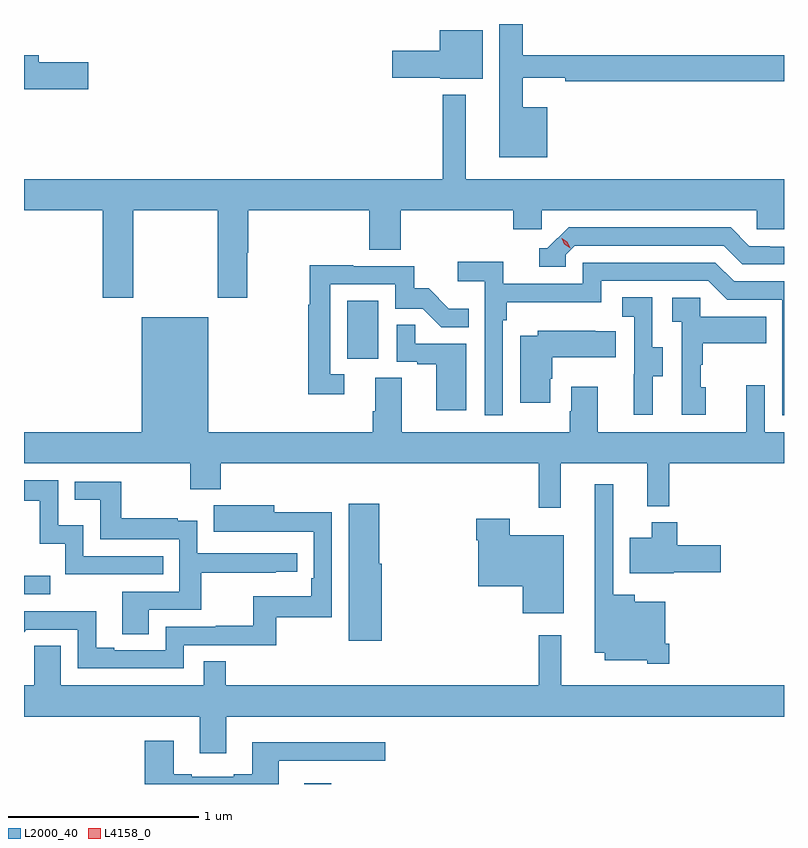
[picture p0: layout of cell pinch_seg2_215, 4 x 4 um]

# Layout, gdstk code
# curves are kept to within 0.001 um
import gdstk
lib = gdstk.Library(unit=1e-6, precision=1e-09)
def R(c, l, rs):  # rectangles x0, y0, x1, y1
    for r in rs: c.add(gdstk.rectangle(r[:2], r[2:], *l))
def P(c, l, *ps):  # polygons
    for p in ps: c.add(gdstk.Polygon(p, *l))
L2000_40 = (2000, 40)
L4158_0 = (4158, 0)

pinch_seg2_215 = lib.new_cell('pinch_seg2_215')
R(pinch_seg2_215, L2000_40, [(1000.037,649.945,1000.177,649.948), (998.561,650.943,998.698,651.04), (1000.262,652.182,1000.426,652.489)])
P(pinch_seg2_215, L2000_40, [(1001.314,653.506),(1001.185,653.506),(1001.185,653.663),(1001.41,653.663),(1001.41,653.644),(1002.561,653.644),(1002.561,653.78),(1001.185,653.78),(1001.185,653.945),(1001.063,653.945),(1001.063,653.243),(1001.314,653.243)],
  [(1000.975,653.911),(1000.748,653.911),(1000.748,653.805),(1000.5,653.805),(1000.5,653.663),(1000.752,653.663),(1000.752,653.657),(1000.975,653.657)],
  [(998.899,653.744),(998.638,653.744),(998.638,653.78),(998.561,653.78),(998.561,653.602),(998.899,653.602)],
  [(998.561,652.964),(998.975,652.964),(998.975,652.503),(999.135,652.503),(999.135,652.964),(999.58,652.964),(999.58,652.503),(999.735,652.503),(999.735,652.742),(999.74,652.742),(999.74,652.964),(1000.379,652.964),(1000.379,652.756),(1000.544,652.756),(1000.544,652.964),(1001.135,652.964),(1001.135,652.866),(1001.286,652.866),(1001.286,652.964),(1002.417,652.964),(1002.417,652.866),(1002.561,652.866),(1002.561,653.128),(1000.885,653.128),(1000.885,653.572),(1000.764,653.572),(1000.764,653.128),(998.561,653.128)],
  [(1001.412,652.731),(1001.46,652.779),(1002.243,652.779),(1002.342,652.68),(1002.561,652.68),(1002.561,652.773),(1002.486,652.773),(1002.486,652.776),(1002.379,652.776),(1002.28,652.875),(1001.427,652.875),(1001.316,652.764),(1001.273,652.764),(1001.273,652.668),(1001.412,652.668)],
  [(1001.082,652.385),(1001.102,652.385),(1001.102,652.481),(1001.598,652.481),(1001.598,652.593),(1002.162,652.593),(1002.261,652.494),(1002.552,652.494),(1002.552,651.885),(1002.561,651.885),(1002.561,652.59),(1002.298,652.59),(1002.199,652.689),(1001.502,652.689),(1001.502,652.578),(1001.084,652.578),(1001.084,652.694),(1000.845,652.694),(1000.845,652.592),(1000.986,652.592),(1000.986,651.885),(1001.082,651.885)],
  [(1000.246,652.101),(1000.173,652.101),(1000.173,652.575),(1000.515,652.575),(1000.515,652.446),(1000.659,652.446),(1000.757,652.348),(1000.901,652.348),(1000.901,652.447),(1000.797,652.447),(1000.69,652.554),(1000.614,652.554),(1000.614,652.671),(1000.295,652.671),(1000.295,652.676),(1000.065,652.676),(1000.065,652.468),(1000.057,652.468),(1000.057,651.996),(1000.246,651.996)],
  [(1001.869,652.09),(1001.923,652.09),(1001.923,652.245),(1001.868,652.245),(1001.868,652.508),(1001.709,652.508),(1001.709,652.405),(1001.772,652.405),(1001.772,652.101),(1001.771,652.101),(1001.771,651.888),(1001.869,651.888)],
  [(1002.148,652.032),(1002.123,652.032),(1002.123,652.151),(1002.133,652.151),(1002.133,652.265),(1002.467,652.265),(1002.467,652.405),(1002.12,652.405),(1002.12,652.503),(1001.973,652.503),(1001.973,652.379),(1002.024,652.379),(1002.024,651.888),(1002.148,651.888)],
  [(1001.581,652.036),(1001.441,652.036),(1001.441,651.908),(1001.434,651.908),(1001.434,651.796),(1000.549,651.796),(1000.549,652.082),(1000.409,652.082),(1000.409,651.908),(1000.397,651.908),(1000.397,651.796),(999.532,651.796),(999.532,652.402),(999.182,652.402),(999.182,651.796),(998.561,651.796),(998.561,651.632),(999.436,651.632),(999.436,651.497),(999.596,651.497),(999.596,651.632),(1001.269,651.632),(1001.269,651.399),(1001.387,651.399),(1001.387,651.632),(1001.84,651.632),(1001.84,651.407),(1001.957,651.407),(1001.957,651.632),(1002.561,651.632),(1002.561,651.796),(1002.459,651.796),(1002.459,652.045),(1002.362,652.045),(1002.362,651.796),(1001.581,651.796)],
  [(1000.888,652.263),(1000.619,652.263),(1000.619,652.361),(1000.524,652.361),(1000.524,652.167),(1000.631,652.167),(1000.631,652.155),(1000.73,652.155),(1000.73,651.912),(1000.888,651.912)],
  [(1001.332,652.079),(1001.34,652.079),(1001.34,652.19),(1001.675,652.19),(1001.675,652.327),(1001.567,652.327),(1001.567,652.33),(1001.265,652.33),(1001.265,652.303),(1001.174,652.303),(1001.174,651.951),(1001.332,651.951)],
  [(999.293,651.144),(998.874,651.144),(998.874,651.307),(998.742,651.307),(998.742,651.543),(998.561,651.543),(998.561,651.435),(998.645,651.435),(998.645,651.209),(998.778,651.209),(998.778,651.048),(999.293,651.048)],
  [(999.217,650.862),(999.494,650.862),(999.494,651.058),(999.887,651.058),(999.887,651.063),(1000,651.063),(1000,651.159),(999.474,651.159),(999.474,651.331),(999.371,651.331),(999.371,651.343),(999.073,651.343),(999.073,651.537),(998.827,651.537),(998.827,651.44),(998.962,651.44),(998.962,651.234),(999.378,651.234),(999.378,650.958),(999.077,650.958),(999.077,650.734),(999.217,650.734)],
  [(1001.957,650.683),(1001.935,650.683),(1001.935,650.905),(1001.776,650.905),(1001.776,650.941),(1001.661,650.941),(1001.661,651.523),(1001.564,651.523),(1001.564,650.636),(1001.618,650.636),(1001.618,650.597),(1001.841,650.597),(1001.841,650.579),(1001.957,650.579)],
  [(1000.444,651.105),(1000.432,651.105),(1000.432,651.421),(1000.271,651.421),(1000.271,650.7),(1000.444,650.7)],
  [(999.402,650.676),(999.889,650.676),(999.889,650.823),(1000.182,650.823),(1000.182,651.374),(999.877,651.374),(999.877,651.412),(999.559,651.412),(999.559,651.272),(1000.086,651.273),(1000.086,651.028),(1000.073,651.028),(1000.073,650.932),(999.768,650.932),(999.768,650.777),(999.571,650.777),(999.571,650.772),(999.306,650.772),(999.306,650.649),(999.037,650.649),(999.037,650.662),(998.941,650.662),(998.941,650.855),(998.736,650.855),(998.736,650.853),(998.561,650.853),(998.561,650.744),(998.574,650.757),(998.844,650.757),(998.844,650.553),(999.402,650.553)],
  [(1001.401,651.253),(1001.118,651.253),(1001.118,651.34),(1000.94,651.34),(1000.94,651.227),(1000.952,651.227),(1000.952,650.987),(1001.186,650.987),(1001.186,650.843),(1001.401,650.843)],
  [(1001.982,651.059),(1002.229,651.059),(1002.229,651.201),(1001.999,651.201),(1001.999,651.322),(1001.864,651.322),(1001.864,651.241),(1001.75,651.241),(1001.75,651.053),(1001.982,651.053)],
  [(999.625,650.3),(1002.561,650.3),(1002.561,650.464),(1001.388,650.464),(1001.388,650.728),(1001.269,650.728),(1001.269,650.464),(999.623,650.464),(999.623,650.591),(999.507,650.591),(999.507,650.464),(998.755,650.464),(998.755,650.672),(998.616,650.672),(998.616,650.464),(998.561,650.464),(998.561,650.3),(999.485,650.3),(999.485,650.106),(999.625,650.106)],
  [(999.901,650.067),(1000.462,650.067),(1000.462,650.164),(999.761,650.164),(999.761,649.996),(999.665,649.996),(999.665,649.983),(999.445,649.983),(999.445,649.996),(999.349,649.996),(999.349,650.173),(999.197,650.173),(999.197,649.945),(999.901,649.945)])
P(pinch_seg2_215, L4158_0, [(1001.435,652.764),(1001.405,652.785),(1001.39,652.818),(1001.39,652.818),(1001.39,652.818),(1001.42,652.798),(1001.436,652.765),(1001.436,652.764)])

lib.write_gds('pinch_seg2_215.gds')
